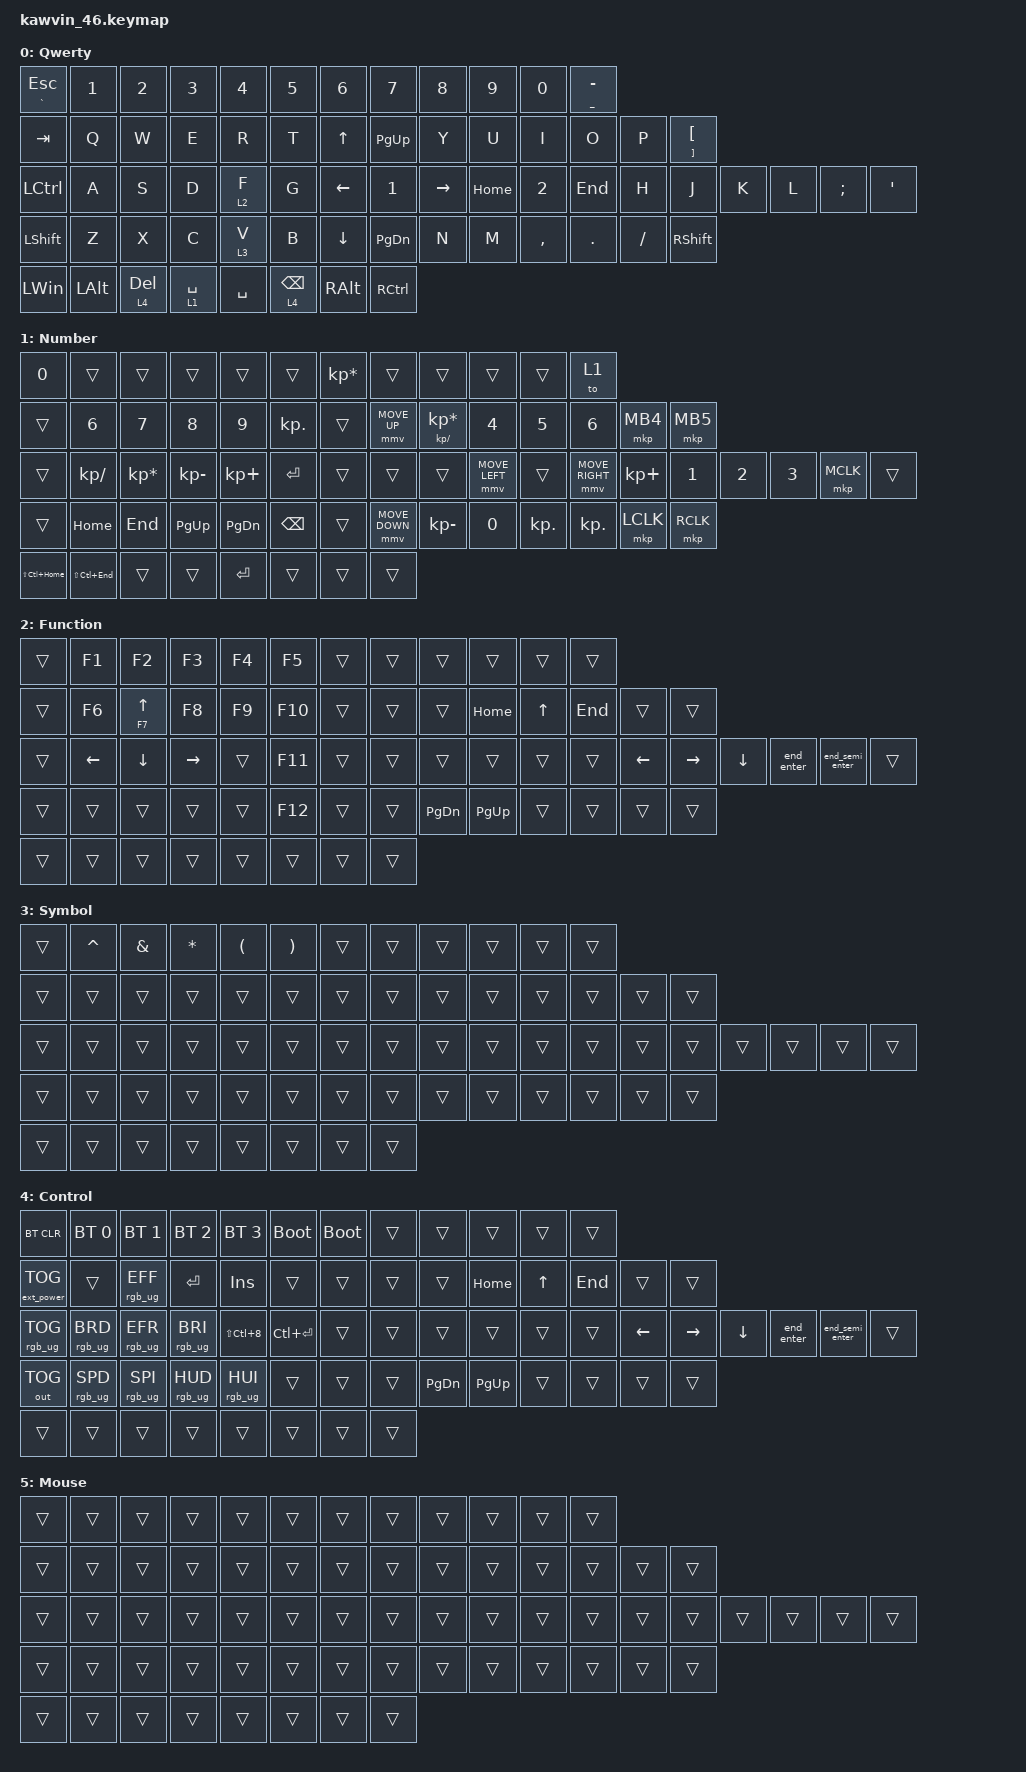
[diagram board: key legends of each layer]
/*
 * Copyright (c) 2023 The ZMK Contributors
 *
 * SPDX-License-Identifier: MIT
 */

#include <behaviors/mouse_keys.dtsi>
#include <behaviors.dtsi>
#include <dt-bindings/zmk/bt.h>
#include <dt-bindings/zmk/ext_power.h>
#include <dt-bindings/zmk/keys.h>
#include <dt-bindings/zmk/mouse.h>
#include <dt-bindings/zmk/outputs.h>
#include <dt-bindings/zmk/rgb.h>

#define ZMK_MOUSE_DEFAULT_MOVE_VAL 1200  // 600
#define ZMK_MOUSE_DEFAULT_SCRL_VAL 20    // 10
#define U_MS_U &mmv MOVE_UP
#define U_MS_D &mmv MOVE_DOWN
#define U_MS_L &mmv MOVE_LEFT
#define U_MS_R &mmv MOVE_RIGHT
#define ZMK_MOUSE_DEFAULT_MOVE_VAL 1200  //  600
#define ZMK_MOUSE_DEFAULT_SCRL_VAL 20    // 10

/ {
    /*
    sensors: sensors {
        compatible = "zmk,keymap-sensors";
        sensors = <&left_encoder>;
        //sensors = <&left_encoder &right_encoder>;
        triggers-per-rotation = <20>;
    };
*/

    macros {
        Ky_MyPwd: Ky_MyPwd {
            label = "Ky_MyPwd";
            compatible = "zmk,behavior-macro";
            #binding-cells = <0>;
            wait-ms = <0>;
            tap-ms = <0>;
            bindings = <&kp N0 &kp N1 &kp N2 &kp N3 &kp N4 &kp N5>;
        };

        layer_1: layer_1 {
            label = "layer 1";
            compatible = "zmk,behavior-macro";
            #binding-cells = <0>;
            wait-ms = <0>;
            tap-ms = <0>;
            bindings =
                <&macro_press>,
                <&ltq 0 END>,
                <&macro_tap>,
                <&rgb_ug RGB_COLOR_HSB(300,100,50)>,
                <&macro_pause_for_release>,
                <&macro_release>,
                <&lt 0 END>,
                <&macro_tap>,
                <&rgb_ug RGB_COLOR_HSB(240,50,30)>;
        };

        layer_2: layer_2 {
            label = "layer 2";
            compatible = "zmk,behavior-macro";
            #binding-cells = <0>;
            wait-ms = <0>;
            tap-ms = <0>;
            bindings =
                <&macro_press>,
                <&mo 0>,
                <&macro_tap>,
                <&rgb_ug RGB_COLOR_HSB(175,100,50)>,
                <&macro_pause_for_release>,
                <&macro_release>,
                <&mo 0>,
                <&macro_tap>,
                <&rgb_ug RGB_COLOR_HSB(240,50,30)>;
        };

        layer_3: layer_3 {
            label = "layer 3";
            compatible = "zmk,behavior-macro";
            #binding-cells = <0>;
            wait-ms = <0>;
            tap-ms = <0>;
            bindings =
                <&macro_press>,
                <&lt 0 DEL>,
                <&macro_tap>,
                <&rgb_ug RGB_COLOR_HSB(0,100,50)>,
                <&macro_pause_for_release>,
                <&macro_release>,
                <&lt 0 DEL>,
                <&macro_tap>,
                <&rgb_ug RGB_COLOR_HSB(240,50,30)>;
        };

        end_enter: end_enter {
            compatible = "zmk,behavior-macro";
            #binding-cells = <0>;
            bindings = <&kp END &kp ENTER>;
            label = "END_ENTER";
        };

        end_semi_enter: end_semi_enter {
            compatible = "zmk,behavior-macro";
            #binding-cells = <0>;
            bindings = <&kp END &kp SEMI &kp ENTER>;
            label = "END_SEMI_ENTER";
        };
    };

    behaviors {
        mmv {
            acceleration-exponent = <1>;      // 1
            time-to-max-speed-ms = <900>;    // 40
            delay-ms = <0>;                   // 0
        };

        msc {
            acceleration-exponent = <1>;      // 0
            time-to-max-speed-ms = <400>;      // 500
            delay-ms = <0>;                   //   10
        };

        hm: homerow_mods {
            compatible = "zmk,behavior-hold-tap";
            #binding-cells = <2>;
            tapping-term-ms = <200>;
            quick-tap-ms = <0>;
            flavor = "tap-preferred";
            bindings = <&kp>, <&kp>;

            label = "HOMEROW_MODS";
        };

        ltq: ltq {
            compatible = "zmk,behavior-hold-tap";
            label = "LTQ";
            bindings = <&mo>, <&kp>;

            #binding-cells = <2>;
            tapping-term-ms = <500>;
            quick-tap-ms = <200>;
            flavor = "tap-preferred";
        };

        as: auto_shift {
            compatible = "zmk,behavior-hold-tap";
            #binding-cells = <2>;
            tapping-term-ms = <200>;
            quick-tap-ms = <0>;
            label = "AUTO_SHIFT";
            flavor = "tap-preferred";
            bindings = <&kp>, <&kp>;
        };
    };

    combos {
        compatible = "zmk,combos";

        esc {
            bindings = <&kp ESCAPE>;
            key-positions = <0 1>;
            timeout-ms = <200>;
        };

        bkt_left {
            bindings = <&mt RIGHT_BRACKET LEFT_BRACKET>;
            key-positions = <16 17>;
            timeout-ms = <200>;
        };

        bkt_right {
            bindings = <&mt LEFT_BRACKET RIGHT_BRACKET>;
            key-positions = <20 21>;
            timeout-ms = <200>;
        };

        par_left {
            bindings = <&mt RIGHT_PARENTHESIS LEFT_PARENTHESIS>;
            key-positions = <3 2>;
            timeout-ms = <200>;
        };

        par_right {
            bindings = <&mt LEFT_PARENTHESIS RIGHT_PARENTHESIS>;
            key-positions = <8 9>;
            timeout-ms = <200>;
        };

        brace_left {
            bindings = <&mt RIGHT_BRACE LEFT_BRACE>;
            key-positions = <14 15>;
            timeout-ms = <200>;
        };

        brace_right {
            bindings = <&mt LEFT_BRACE RIGHT_BRACE>;
            key-positions = <23 22>;
            timeout-ms = <200>;
        };

        bac_pipe {
            bindings = <&mt PIPE BACKSLASH>;
            key-positions = <13 14>;
            timeout-ms = <200>;
        };

        minus_under_left {
            bindings = <&mt UNDER MINUS>;
            key-positions = <1 2>;
            timeout-ms = <200>;
        };

        comma_dot {
            bindings = <&mt DOT COMMA>;
            key-positions = <48 49>;
            timeout-ms = <200>;
        };

        bslh_fslh {
            bindings = <&mt BSLH SLASH>;
            key-positions = <48 47>;
            timeout-ms = <200>;
        };

        minus_under_right {
            bindings = <&mt UNDER MINUS>;
            key-positions = <9 10>;
            timeout-ms = <200>;
        };

        enter {
            bindings = <&kp ENTER>;
            key-positions = <39 40>;
        };

        question {
            bindings = <&kp QMARK>;
            key-positions = <45 46>;
        };

        vol_mute {
            bindings = <&kp C_MUTE>;
            key-positions = <58 61>;
        };

        vol_up {
            bindings = <&kp C_VOL_UP>;
            key-positions = <58 60>;
        };

        vol_down {
            bindings = <&kp C_VOL_DN>;
            key-positions = <58 59>;
        };
    };

    //scroll_encoder: scroll_encoder {
    //    compatible = "zmk,behavior-sensor-rotate";
    //    #sensor-binding-cells = <0>;
    //    bindings = <&msc SCRL_DOWN>, <&msc SCRL_UP>;
    //    tap-ms = <30>;
    //};

    keymap {
        compatible = "zmk,keymap";

        qwert_layer {
            //  ---------------------------------------------------------------------------------
            //  |A_GRAVE ESC|N1  |N2   |N3  |N4       |N5   |    |    |    |     |    |    |    |     |    |N6   |N7  |N8   |N9   |N0  |MINUS |
            //  |TAB        |Q   |W    |E   |R        |T    |    |    |UP  |     |    |    |UP  |     |    |Y    |U   |I    |O    |P   |LBKT  |
            //  |LCTRL      |A   |S    |D   |F        |G    |    |LEFT|N1  |RIGHT|    |LEFT|N2  |RIGHT|    |H    |J   |K    |L    |SEMI|SQT   |
            //  |LSHIFT     |Z   |X    |C   |V        |B    |    |    |DOWN|     |    |    |DOWN|     |    |N    |M   |COMMA|DOT  |FSLH|RSHIFT|
            //  |           |    |LCTRL|LALT|&lt 2 DEL|SPACE|    |    |    |     |    |    |    |     |    |ENTER|BSPC|RGUI |RCTRL|    |      |

            bindings = <
&mt GRAVE ESC  &kp N1    &kp N2      &kp N3        &kp N4     &kp N5       &kp N6    &kp N7         &kp N8     &kp N9    &kp N0     &mt UNDERSCORE MINUS
&kp TAB        &kp Q     &kp W       &kp E         &kp R      &kp T        &kp UP    &kp PG_UP      &kp Y      &kp U     &kp I      &kp O                 &kp P     &mt RIGHT_BRACKET LEFT_BRACKET
&kp LCTRL      &kp A     &kp S       &kp D         &ltq 2 F   &kp G        &kp LEFT  &kp N1         &kp RIGHT  &kp HOME  &kp N2     &kp END               &kp H     &kp J                           &kp K  &kp L  &kp SEMI  &kp SQT
&kp LSHIFT     &kp Z     &kp X       &kp C         &ltq 3 V   &kp B        &kp DOWN  &kp PAGE_DOWN  &kp N      &kp M     &kp COMMA  &kp DOT               &kp FSLH  &kp RSHIFT
&kp LWIN       &kp LALT  &ltq 4 DEL  &ltq 1 SPACE  &kp SPACE  &ltq 4 BSPC  &kp RALT  &kp RCTRL
            >;

            label = "Qwerty";

            //sensor-bindings = <&inc_dec_kp C_VOL_UP C_VOL_DN>;
            //sensor-bindings = <&inc_dec_kp C_VOL_UP C_VOL_DN &inc_dec_kp PG_UP PG_DN>;
        };

        number_layer {
            //  ---------------------------------------------------------------------------------
            //  |    |N6  |N7  |N8  |N9  |N0  |    |    |    |    |    |    |    |    |    |    |    |    |    |    |    |
            //  |    |    |    |    |    |    |    |    |    |    |    |    |    |    |    |    |N4  |N5  |N6  |    |F12 |
            //  |    |    |    |    |    |    |    |    |    |    |    |    |    |    |    |    |N1  |N2  |N3  |    |    |
            //  |    |    |    |    |    |    |    |    |    |    |    |    |    |    |    |    |N0  |    |    |    |    |
            //  |    |    |    |    |    |    |    |    |    |    |    |    |    |    |    |    |    |    |    |    |    |

            bindings = <
&kp N0            &trans           &trans           &trans           &trans       &trans      &kp KP_MULTIPLY  &trans          &trans                     &trans          &trans      &to 1
&trans            &kp N6           &kp N7           &kp N8           &kp N9       &kp KP_DOT  &trans           &mmv MOVE_UP    &mt KP_DIVIDE KP_MULTIPLY  &kp N4          &kp N5      &kp N6           &mkp MB4     &mkp MB5
&trans            &kp KP_SLASH     &kp KP_MULTIPLY  &kp KP_SUBTRACT  &kp KP_PLUS  &kp ENTER   &trans           &trans          &trans                     &mmv MOVE_LEFT  &trans      &mmv MOVE_RIGHT  &kp KP_PLUS  &kp N1     &kp N2  &kp N3  &mkp MCLK  &trans
&trans            &kp HOME         &kp END          &kp PG_UP        &kp PG_DN    &kp BSPC    &trans           &mmv MOVE_DOWN  &kp KP_SUBTRACT            &kp N0          &kp KP_DOT  &kp KP_DOT       &mkp LCLK    &mkp RCLK
&kp LS(LC(HOME))  &kp LS(LC(END))  &trans           &trans           &kp ENTER    &trans      &trans           &trans
            >;

            label = "Number";

            //sensor-bindings = <&inc_dec_kp C_VOL_UP C_VOL_DN>;
            //sensor-bindings = <&inc_dec_kp C_VOL_UP C_VOL_DN &inc_dec_kp PG_UP PG_DN>;
        };

        function_layer {
            //  ---------------------------------------------------------------------------------
            //  |    |    |    |    |    |    |    |    |    |    |    |    |    |    |    |    |    |    |    |    |    |
            //  |    |    |    |    |    |    |    |    |    |    |    |    |    |    |    |    |    |    |    |    |    |
            //  |    |    |    |    |    |    |    |    |    |    |    |    |    |    |    |    |    |    |    |    |    |
            //  |    |    |    |    |    |    |    |    |    |    |    |    |    |    |    |    |    |    |    |    |    |
            //  |    |    |    |    |    |    |    |    |    |    |    |    |    |    |    |    |    |    |    |    |    |

            bindings = <
&trans  &kp F1          &kp F2           &kp F3           &kp F4  &kp F5   &trans  &trans  &trans     &trans     &trans        &trans
&trans  &kp F6          &mt F7 UP_ARROW  &kp F8           &kp F9  &kp F10  &trans  &trans  &trans     &kp HOME   &kp UP_ARROW  &kp END  &trans          &trans
&trans  &kp LEFT_ARROW  &kp DOWN_ARROW   &kp RIGHT_ARROW  &trans  &kp F11  &trans  &trans  &trans     &trans     &trans        &trans   &kp LEFT_ARROW  &kp RIGHT_ARROW  &kp DOWN_ARROW  &end_enter  &end_semi_enter  &trans
&trans  &trans          &trans           &trans           &trans  &kp F12  &trans  &trans  &kp PG_DN  &kp PG_UP  &trans        &trans   &trans          &trans
&trans  &trans          &trans           &trans           &trans  &trans   &trans  &trans
            >;

            label = "Function";

            //sensor-bindings = <&inc_dec_kp C_VOL_UP C_VOL_DN>;
            //sensor-bindings = <&inc_dec_kp C_VOL_UP C_VOL_DN &inc_dec_kp PG_UP PG_DN>;
        };

        symbol_layer {
            //  ---------------------------------------------------------------------------------
            //  |    |    |    |    |    |    |    |    |    |    |    |    |    |    |    |    |    |    |    |    |    |
            //  |    |    |    |    |    |    |    |    |    |    |    |    |    |    |    |    |    |    |    |    |    |
            //  |    |    |    |    |    |    |    |    |    |    |    |    |    |    |    |    |    |    |    |    |    |
            //  |    |    |    |    |    |    |    |    |    |    |    |    |    |    |    |    |    |    |    |    |    |
            //  |    |    |    |    |    |    |    |    |    |    |    |    |    |    |    |    |    |    |    |    |    |

            bindings = <
&trans  &kp CARET  &kp AMPS  &kp STAR  &kp LPAR  &kp RPAR  &trans  &trans  &trans  &trans  &trans  &trans
&trans  &trans     &trans    &trans    &trans    &trans    &trans  &trans  &trans  &trans  &trans  &trans  &trans  &trans
&trans  &trans     &trans    &trans    &trans    &trans    &trans  &trans  &trans  &trans  &trans  &trans  &trans  &trans  &trans  &trans  &trans  &trans
&trans  &trans     &trans    &trans    &trans    &trans    &trans  &trans  &trans  &trans  &trans  &trans  &trans  &trans
&trans  &trans     &trans    &trans    &trans    &trans    &trans  &trans
            >;

            label = "Symbol";

            //sensor-bindings = <&inc_dec_kp C_VOL_UP C_VOL_DN>;
            //sensor-bindings = <&inc_dec_kp C_VOL_UP C_VOL_DN &inc_dec_kp PG_UP PG_DN>;
        };

        control_layer {
            //  ---------------------------------------------------------------------------------
            //  |    |F1  |F2  |F3  |F4  |F5  |    |    |    |    |    |    |    |    |    |F6  |F7  |F8  |F9  |F10 |F11 |
            //  |    |    |    |    |    |    |    |    |    |    |    |    |    |    |    |    |    |    |    |    |RBKT|
            //  |    |    |    |    |    |    |    |    |    |    |    |    |    |    |    |    |    |    |    |    |    |
            //  |    |    |    |    |    |    |    |    |    |    |    |    |    |    |    |    |    |    |    |    |    |
            //  |    |    |    |    |    |    |    |    |    |    |    |    |    |    |    |    |    |    |    |    |    |

            bindings = <
&bt BT_CLR         &bt BT_SEL 0     &bt BT_SEL 1     &bt BT_SEL 2     &bt BT_SEL 3     &bootloader    &bootloader  &trans  &trans     &trans     &trans        &trans
&ext_power EP_TOG  &trans           &rgb_ug RGB_EFF  &kp ENTER        &kp INSERT       &trans         &trans       &trans  &trans     &kp HOME   &kp UP_ARROW  &kp END  &trans          &trans
&rgb_ug RGB_TOG    &rgb_ug RGB_BRD  &rgb_ug RGB_EFR  &rgb_ug RGB_BRI  &kp LS(LC(N8))   &kp LC(ENTER)  &trans       &trans  &trans     &trans     &trans        &trans   &kp LEFT_ARROW  &kp RIGHT_ARROW  &kp DOWN_ARROW  &end_enter  &end_semi_enter  &trans
&out OUT_TOG       &rgb_ug RGB_SPD  &rgb_ug RGB_SPI  &rgb_ug RGB_HUD  &rgb_ug RGB_HUI  &trans         &trans       &trans  &kp PG_DN  &kp PG_UP  &trans        &trans   &trans          &trans
&trans             &trans           &trans           &trans           &trans           &trans         &trans       &trans
            >;

            label = "Control";

            //sensor-bindings = <&inc_dec_kp C_VOL_UP C_VOL_DN>;
            //sensor-bindings = <&inc_dec_kp C_VOL_UP C_VOL_DN &inc_dec_kp PG_UP PG_DN>;
        };

        mouse_layer {
            //  ---------------------------------------------------------------------------------
            //  |    |    |    |    |    |    |    |    |    |    |    |    |    |    |    |    |    |    |    |    |    |
            //  |    |    |    |    |    |    |    |    |    |    |    |    |    |    |    |    |    |    |    |    |    |
            //  |    |    |    |    |    |    |    |    |    |    |    |    |    |    |    |    |    |    |    |    |    |
            //  |    |    |    |    |    |    |    |    |    |    |    |    |    |    |    |    |    |    |    |    |    |
            //  |    |    |    |    |    |    |    |    |    |    |    |    |    |    |    |    |    |    |    |    |    |

            bindings = <
&trans  &trans  &trans  &trans  &trans  &trans  &trans  &trans  &trans  &trans  &trans  &trans
&trans  &trans  &trans  &trans  &trans  &trans  &trans  &trans  &trans  &trans  &trans  &trans  &trans  &trans
&trans  &trans  &trans  &trans  &trans  &trans  &trans  &trans  &trans  &trans  &trans  &trans  &trans  &trans  &trans  &trans  &trans  &trans
&trans  &trans  &trans  &trans  &trans  &trans  &trans  &trans  &trans  &trans  &trans  &trans  &trans  &trans
&trans  &trans  &trans  &trans  &trans  &trans  &trans  &trans
            >;

            label = "Mouse";

            //sensor-bindings = <&inc_dec_kp C_VOL_UP C_VOL_DN>;
            //sensor-bindings = <&inc_dec_kp C_VOL_UP C_VOL_DN &inc_dec_kp PG_UP PG_DN>;
        };
    };
};
